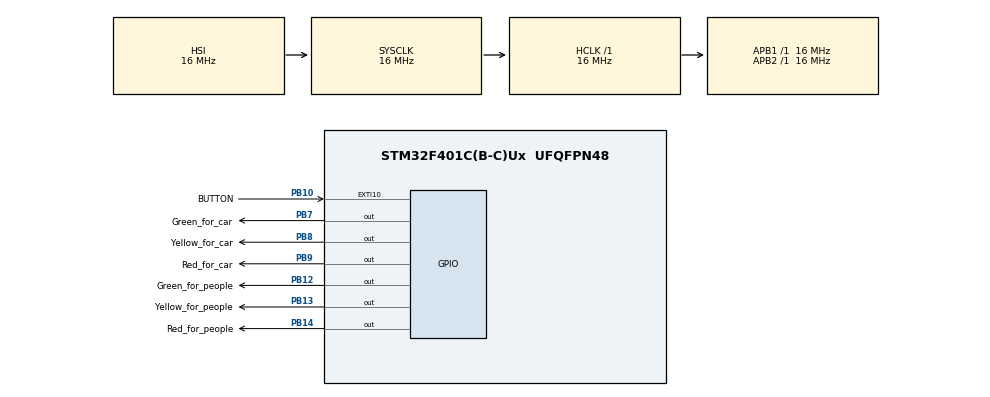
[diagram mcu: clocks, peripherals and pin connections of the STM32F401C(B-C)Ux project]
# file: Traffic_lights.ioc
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Mcu.Family=STM32F4
Mcu.Name=STM32F401C(B-C)Ux
Mcu.Package=UFQFPN48
NVIC.EXTI15_10_IRQn=true\:0\:0\:false\:false\:true\:true\:true\:true
NVIC.PriorityGroup=NVIC_PRIORITYGROUP_4
PB10.GPIO_Label=BUTTON
PB10.Signal=GPXTI10
PB12.GPIO_Label=Green_for_people
PB12.PinState=GPIO_PIN_SET
PB12.Signal=GPIO_Output
PB13.GPIO_Label=Yellow_for_people
PB13.PinState=GPIO_PIN_SET
PB13.Signal=GPIO_Output
PB14.GPIO_Label=Red_for_people
PB14.PinState=GPIO_PIN_SET
PB14.Signal=GPIO_Output
PB7.GPIO_Label=Green_for_car
PB7.PinState=GPIO_PIN_SET
PB7.Signal=GPIO_Output
PB8.GPIO_Label=Yellow_for_car
PB8.PinState=GPIO_PIN_SET
PB8.Signal=GPIO_Output
PB9.GPIO_Label=Red_for_car
PB9.PinState=GPIO_PIN_SET
PB9.Signal=GPIO_Output
ProjectManager.HeapSize=0x200
ProjectManager.StackSize=0x400
ProjectManager.TargetToolchain=STM32CubeIDE
RCC.AHBFreq_Value=16000000
RCC.APB1Freq_Value=16000000
RCC.APB2Freq_Value=16000000
RCC.CortexFreq_Value=16000000
RCC.HSE_VALUE=25000000
RCC.HSI_VALUE=16000000
RCC.LSE_VALUE=32768
RCC.SYSCLKFreq_VALUE=16000000
RCC.VCOOutputFreq_Value=192000000
board=custom

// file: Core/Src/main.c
/* USER CODE BEGIN Header */
/**
  ******************************************************************************
  * @file           : main.c
  * @brief          : Main program body
  ******************************************************************************
  * @attention
  *
  * Copyright (c) 2022 STMicroelectronics.
  * All rights reserved.
  *
  * This software is licensed under terms that can be found in the LICENSE file
  * in the root directory of this software component.
  * If no LICENSE file comes with this software, it is provided AS-IS.
  *
  ******************************************************************************
  */
/* USER CODE END Header */
#include "main.h"

void SystemClock_Config(void);
static void MX_GPIO_Init(void);

/* USER CODE BEGIN 0 */

int button_on = 0;

/* USER CODE END 0 */

int main(void)
{

  /* MCU Configuration--------------------------------------------------------*/

  /* Reset of all peripherals, Initializes the Flash interface and the Systick. */
  HAL_Init();

  /* Configure the system clock */
  SystemClock_Config();

  /* Initialize all configured peripherals */
  MX_GPIO_Init();
  /* USER CODE BEGIN 2 */

  uint32_t stop_time = 2000;

  /* USER CODE END 2 */

  /* Infinite loop */
  /* USER CODE BEGIN WHILE */
  while (1)
  {
	  HAL_GPIO_WritePin(Red_for_people_GPIO_Port, Red_for_people_Pin, GPIO_PIN_RESET);
	 	 	  HAL_GPIO_WritePin(Green_for_car_GPIO_Port, Green_for_car_Pin, GPIO_PIN_RESET);

	 	 	  if(button_on == 1){

	 	 		  // перші блимають
	 	 		  for(int i = 0; i < 10; i++){
	 	 			  if(i%2 == 0){
	 	 				  HAL_GPIO_WritePin(Red_for_people_GPIO_Port, Red_for_people_Pin, GPIO_PIN_SET);
	 	 				  HAL_GPIO_WritePin(Green_for_car_GPIO_Port, Green_for_car_Pin, GPIO_PIN_SET);
	 	 			  }else{
	 	 				  HAL_GPIO_WritePin(Red_for_people_GPIO_Port, Red_for_people_Pin, GPIO_PIN_RESET);
	 	 				  HAL_GPIO_WritePin(Green_for_car_GPIO_Port, Green_for_car_Pin, GPIO_PIN_RESET);
	 	 			  }
	 	 			  HAL_Delay(stop_time/10);
	 	 		  }

	 	 		  // жовті загораються, перші - тухнуть
	 	 		  HAL_GPIO_WritePin(Red_for_people_GPIO_Port, Red_for_people_Pin, GPIO_PIN_SET);
	 	 		  HAL_GPIO_WritePin(Green_for_car_GPIO_Port, Green_for_car_Pin, GPIO_PIN_SET);

	 	 		  HAL_GPIO_WritePin(Yellow_for_people_GPIO_Port, Yellow_for_people_Pin, GPIO_PIN_RESET);
	 	 		  HAL_GPIO_WritePin(Yellow_for_car_GPIO_Port, Yellow_for_car_Pin, GPIO_PIN_RESET);
	 	 		  HAL_Delay(stop_time/2);

	 	 		  // жовті блимають
	 	 		  for(int i = 0; i < 10; i++){
	 	 		  	if(i%2 == 0){
	 	 		  		  HAL_GPIO_WritePin(Yellow_for_car_GPIO_Port, Yellow_for_car_Pin, GPIO_PIN_SET);
	 	 		  		  HAL_GPIO_WritePin(Yellow_for_people_GPIO_Port, Yellow_for_people_Pin, GPIO_PIN_SET);
	 	 		  	}else{
	 	 		  		  HAL_GPIO_WritePin(Yellow_for_car_GPIO_Port, Yellow_for_car_Pin, GPIO_PIN_RESET);
	 	 		  		  HAL_GPIO_WritePin(Yellow_for_people_GPIO_Port, Yellow_for_people_Pin, GPIO_PIN_RESET);
	 	 		  	}
	 	 		    HAL_Delay(stop_time/10);
	 	 		  }

	 	 		  // другі загоряються, жовті - тухнуть
	 	 		  HAL_GPIO_WritePin(Yellow_for_people_GPIO_Port, Yellow_for_people_Pin, GPIO_PIN_SET);
	 	 		  HAL_GPIO_WritePin(Yellow_for_car_GPIO_Port, Yellow_for_car_Pin, GPIO_PIN_SET);

	 	 		  HAL_GPIO_WritePin(Red_for_car_GPIO_Port, Red_for_car_Pin, GPIO_PIN_RESET);
	 	 		  HAL_GPIO_WritePin(Green_for_people_GPIO_Port, Green_for_people_Pin, GPIO_PIN_RESET);
	 	 		  HAL_Delay(stop_time);

	 	 		  // жовті загоряються
	 	 		  HAL_GPIO_WritePin(Yellow_for_people_GPIO_Port, Yellow_for_people_Pin, GPIO_PIN_RESET);
	 	 		  HAL_GPIO_WritePin(Yellow_for_car_GPIO_Port, Yellow_for_car_Pin, GPIO_PIN_RESET);
	 	 		  HAL_Delay(stop_time);

	 	 		  // жовті блимають, другі - тухнуть
	 	 		  for(int i = 0; i < 10; i++){
	 	 		  		  		  			  if(i%2 == 0){
	 	 		  		  		  				  HAL_GPIO_WritePin(Yellow_for_car_GPIO_Port, Yellow_for_car_Pin, GPIO_PIN_SET);
	 	 		  		  		  				  HAL_GPIO_WritePin(Yellow_for_people_GPIO_Port, Yellow_for_people_Pin, GPIO_PIN_SET);
	 	 		  		  		  			  }else{
	 	 		  		  		  				  HAL_GPIO_WritePin(Yellow_for_car_GPIO_Port, Yellow_for_car_Pin, GPIO_PIN_RESET);
	 	 		  		  		  				  HAL_GPIO_WritePin(Yellow_for_people_GPIO_Port, Yellow_for_people_Pin, GPIO_PIN_RESET);
	 	 		  		  		  			  }
	 	 		  		  		  			  HAL_Delay(stop_time/10);
	 	 		  }
	 	 		  HAL_GPIO_WritePin(Red_for_car_GPIO_Port, Red_for_car_Pin, GPIO_PIN_SET);
	 	 		  HAL_GPIO_WritePin(Green_for_people_GPIO_Port, Green_for_people_Pin, GPIO_PIN_SET);

	 	 		  // перші загоряються, жовті - тухнуть
	 	 		  HAL_GPIO_WritePin(Yellow_for_people_GPIO_Port, Yellow_for_people_Pin, GPIO_PIN_SET);
	 	 		  HAL_GPIO_WritePin(Yellow_for_car_GPIO_Port, Yellow_for_car_Pin, GPIO_PIN_SET);

	 	 		  HAL_GPIO_WritePin(Red_for_people_GPIO_Port, Red_for_people_Pin, GPIO_PIN_RESET);
	 	 		  HAL_GPIO_WritePin(Green_for_car_GPIO_Port, Green_for_car_Pin, GPIO_PIN_RESET);

	 	 		  button_on = 0;
    /* USER CODE END WHILE */

  }
}

void SystemClock_Config(void)
{
  RCC_OscInitTypeDef RCC_OscInitStruct = {0};
  RCC_ClkInitTypeDef RCC_ClkInitStruct = {0};

  /** Configure the main internal regulator output voltage
  */
  __HAL_RCC_PWR_CLK_ENABLE();
  __HAL_PWR_VOLTAGESCALING_CONFIG(PWR_REGULATOR_VOLTAGE_SCALE2);

  /** Initializes the RCC Oscillators according to the specified parameters
  * in the RCC_OscInitTypeDef structure.
  */
  RCC_OscInitStruct.OscillatorType = RCC_OSCILLATORTYPE_HSI;
  RCC_OscInitStruct.HSIState = RCC_HSI_ON;
  RCC_OscInitStruct.HSICalibrationValue = RCC_HSICALIBRATION_DEFAULT;
  RCC_OscInitStruct.PLL.PLLState = RCC_PLL_NONE;
  if (HAL_RCC_OscConfig(&RCC_OscInitStruct) != HAL_OK)
  {
    Error_Handler();
  }

  /** Initializes the CPU, AHB and APB buses clocks
  */
  RCC_ClkInitStruct.ClockType = RCC_CLOCKTYPE_HCLK|RCC_CLOCKTYPE_SYSCLK
                              |RCC_CLOCKTYPE_PCLK1|RCC_CLOCKTYPE_PCLK2;
  RCC_ClkInitStruct.SYSCLKSource = RCC_SYSCLKSOURCE_HSI;
  RCC_ClkInitStruct.AHBCLKDivider = RCC_SYSCLK_DIV1;
  RCC_ClkInitStruct.APB1CLKDivider = RCC_HCLK_DIV1;
  RCC_ClkInitStruct.APB2CLKDivider = RCC_HCLK_DIV1;

  if (HAL_RCC_ClockConfig(&RCC_ClkInitStruct, FLASH_LATENCY_0) != HAL_OK)
  {
    Error_Handler();
  }
}

static void MX_GPIO_Init(void)
{
  GPIO_InitTypeDef GPIO_InitStruct = {0};

  /* GPIO Ports Clock Enable */
  __HAL_RCC_GPIOB_CLK_ENABLE();

  /*Configure GPIO pin Output Level */
  HAL_GPIO_WritePin(GPIOB, Green_for_people_Pin|Yellow_for_people_Pin|Red_for_people_Pin|Green_for_car_Pin
                          |Yellow_for_car_Pin|Red_for_car_Pin, GPIO_PIN_SET);

  /*Configure GPIO pin : BUTTON_Pin */
  GPIO_InitStruct.Pin = BUTTON_Pin;
  GPIO_InitStruct.Mode = GPIO_MODE_IT_RISING;
  GPIO_InitStruct.Pull = GPIO_NOPULL;
  HAL_GPIO_Init(BUTTON_GPIO_Port, &GPIO_InitStruct);

  /*Configure GPIO pins : Green_for_people_Pin Yellow_for_people_Pin Red_for_people_Pin Green_for_car_Pin
                           Yellow_for_car_Pin Red_for_car_Pin */
  GPIO_InitStruct.Pin = Green_for_people_Pin|Yellow_for_people_Pin|Red_for_people_Pin|Green_for_car_Pin
                          |Yellow_for_car_Pin|Red_for_car_Pin;
  GPIO_InitStruct.Mode = GPIO_MODE_OUTPUT_PP;
  GPIO_InitStruct.Pull = GPIO_NOPULL;
  GPIO_InitStruct.Speed = GPIO_SPEED_FREQ_LOW;
  HAL_GPIO_Init(GPIOB, &GPIO_InitStruct);

  /* EXTI interrupt init*/
  HAL_NVIC_SetPriority(EXTI15_10_IRQn, 0, 0);
  HAL_NVIC_EnableIRQ(EXTI15_10_IRQn);

}

/* USER CODE BEGIN 4 */

void HAL_GPIO_EXTI_Callback(uint16_t GPIO_Pin)
{
  button_on = 1;
}

/* USER CODE END 4 */

void Error_Handler(void)
{
  __disable_irq();
  while (1)
  {
  }
}
